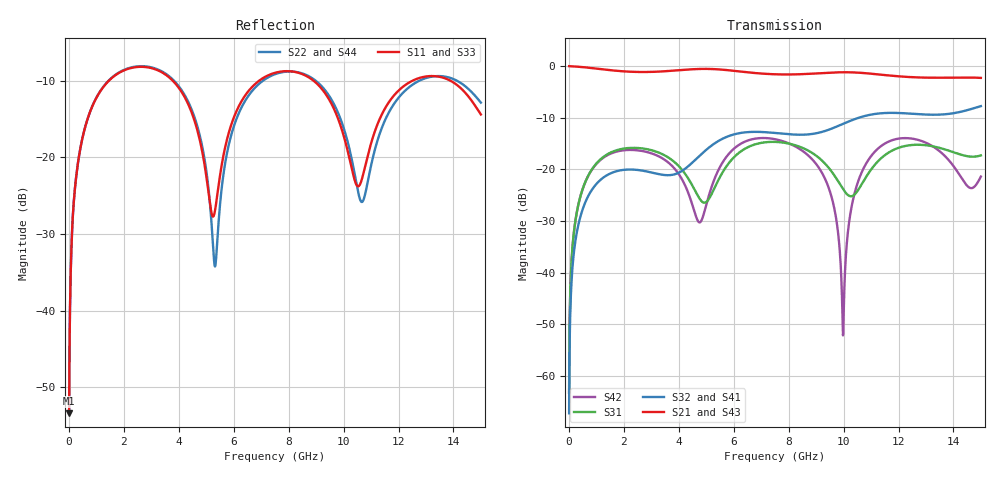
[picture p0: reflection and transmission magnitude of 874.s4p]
! Created with skrf 1.8.0 (http://scikit-rf.org).
# GHz S RI R 50.0
!freq ReS11 ImS11 ReS12 ImS12 ReS13 ImS13
! ReS14 ImS14
! ReS21 ImS21 ReS22 ImS22 ReS23 ImS23
! ReS24 ImS24
! ReS31 ImS31 ReS32 ImS32 ReS33 ImS33
! ReS34 ImS34
! ReS41 ImS41 ReS42 ImS42 ReS43 ImS43
! ReS44 ImS44
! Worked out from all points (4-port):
!   2499 points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, 5 MHz to 15 GHz, reference 50 ohm
!   strongest paths, dB at 5 MHz, 3.476 GHz, 7.19 GHz, 11.1 GHz, 15 GHz:
!     S21: 0.0, -1.0, -1.5, -1.5, -2.3
!     S43: 0.0, -1.0, -1.5, -1.5, -2.3
!     S32: -67.3, -21.1, -12.8, -9.3, -7.8
!     S41: -67.3, -21.2, -12.9, -9.3, -7.7
!     S31: -63.3, -17.3, -14.7, -19.4, -17.3
!     S42: -63.3, -18.1, -14.0, -16.8, -21.4
!   lowest |S11| = -53.4 dB at 5 MHz (marker M1), VSWR 1.00, Z = 50.2 + j0.129 ohm
!   |S11| at or under -10 dB: start of sweep to 1.445 GHz; 3.787 GHz to 6.915 GHz (3.128 GHz wide, 58.5 % of centre); 8.915 GHz to 12.49 GHz (3.58 GHz wide, 33.4 % of centre) (the widest 3 of 4)
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0.005  0.0017 0.00129  0.9983 -0.00331  8.58e-05 0.000679  -8.32e-05 -0.000425
       0.9983 -0.00331  0.0017 0.00129  -8.32e-05 -0.000425  8.56e-05 0.000679
       8.58e-05 0.000679  -8.32e-05 -0.000425  0.0017 0.00129  0.9983 -0.00331
       -8.32e-05 -0.000425  8.56e-05 0.000679  0.9983 -0.00331  0.0017 0.00129
1.519383  0.2728 0.1778  0.5397 -0.735  0.1355 0.053  -0.0912 -0.00477
          0.5397 -0.735  0.2764 0.1754  -0.0914 -0.00451  0.1247 0.068
          0.1355 0.053  -0.0914 -0.00451  0.2727 0.1779  0.5396 -0.735
          -0.0912 -0.00477  0.1247 0.068  0.5396 -0.735  0.2765 0.1753
5.320967  0.0425 0.0157  -0.9329 -0.0389  -0.0307 0.0604  -0.00477 0.1795
          -0.9329 -0.0389  0.0194 -0.000538  -0.000178 0.1796  0.0457 0.0699
          -0.0307 0.0604  -0.000178 0.1796  0.0436 0.0145  -0.9329 -0.039
          -0.00477 0.1795  0.0457 0.0699  -0.9329 -0.039  0.0189 -0.00121
8.178408  0.3611 -0.0405  -0.00776 0.8306  0.146 -0.0929  0.2055 -0.0608
          -0.00776 0.8306  0.3623 -0.0296  0.2056 -0.0703  0.1522 -0.0757
          0.146 -0.0929  0.2056 -0.0703  0.3596 -0.0381  -0.007 0.8306
          0.2055 -0.0608  0.1522 -0.0757  -0.007 0.8306  0.364 -0.0326
9.979158  0.1002 -0.1028  0.7476 0.4482  -0.0525 -0.0374  0.1412 -0.2365
          0.7476 0.4482  0.1011 -0.1248  0.1277 -0.2443  0.00246 7.94e-05
          -0.0525 -0.0374  0.1277 -0.2443  0.1053 -0.1012  0.748 0.4472
          0.1412 -0.2365  0.00246 7.94e-05  0.748 0.4472  0.0978 -0.128
11.26094  0.1269 0.1119  0.8056 -0.2034  0.0627 0.1027  -0.1042 -0.3304
          0.8056 -0.2034  0.0946 0.0944  -0.1221 -0.3248  0.1214 0.1035
          0.0627 0.1027  -0.1221 -0.3248  0.1297 0.107  0.8052 -0.2048
          -0.1042 -0.3304  0.1214 0.1035  0.8052 -0.2048  0.0928 0.0962
15  0.1784 -0.0682  -0.5507 -0.5361  -0.135 -0.0206  -0.3044 0.2766
    -0.5507 -0.5361  0.2066 -0.0968  -0.2813 0.2976  -0.0786 0.0324
    -0.135 -0.0206  -0.2813 0.2976  0.1854 -0.0673  -0.5533 -0.5331
    -0.3044 0.2766  -0.0786 0.0324  -0.5533 -0.5331  0.2013 -0.0981
